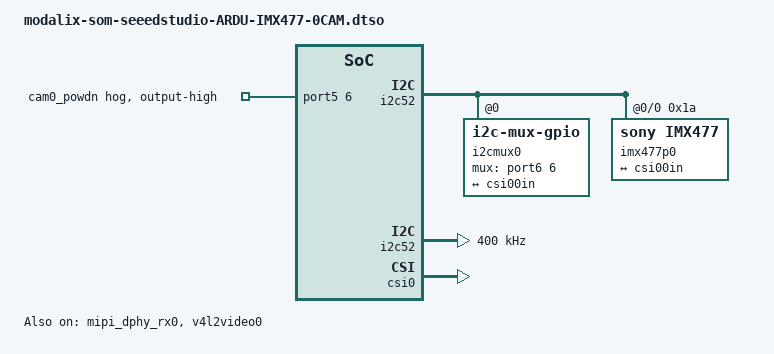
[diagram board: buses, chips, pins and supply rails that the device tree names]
// SPDX-License-Identifier: (GPL-2.0+ OR MIT)
/*
 * Copyright (c) 2026 SiMa ai
 */

/dts-v1/;
/plugin/;

&{/} {
        xclk_0: xclk_0 {
                status = "okay";
                compatible = "fixed-clock";
                #clock-cells = <0>;
                clock-frequency = <24000000>;
        };

        i2cmux0: i2cmux@0 {
                compatible = "i2c-mux-gpio";
                i2c-parent = <&i2c52>;
                #address-cells = <1>;
                #size-cells = <0>;
                /* Set port6 gpio6 to GPIO_ACTIVE_LOW mode */
                mux-gpios = <&port6 6 0>;

                i2cmux0p0: i2c@0 {
                    reg = <0>;
                    #address-cells = <1>;
                    #size-cells = <0>;
                };
        };
};

&port5 {
        cam-hog0 {
                gpio-hog;
                /* Set port5 gpio6 to GPIO_ACTIVE_HIGH mode */
                gpios = <6 0>;
                output-high;
                line-name = "cam0_powdn";
        };
};

&i2c52 {
    status = "okay";
    clock-frequency = <400000>;
    #address-cells = <1>;
    #size-cells = <0>;
};

&csi0 {
    status = "okay";
};

&axi_vdma0 {
    status = "okay";
};

&mipi_dphy_rx0 {
    status = "okay";
};

&v4l2video0 {
    status = "okay";
};

&v4l2vdma0 {
    status = "okay";
};

&csi00in {
    clock-lanes = <0>;
    data-lanes = <1 2>;
    link-frequencies = /bits/ 64 <450000000>;
    remote-endpoint = <&cam00out>;
    clock-continuous;
};

&i2cmux0p0 {
        imx477p0: imx477@1a {
                compatible = "sony,imx477";
                reg = <0x1a>;

                clocks = <&xclk_0>;
                clock-names = "xclk";

                port@1 {
                        cam00out: endpoint@0 {
                                clock-lanes = <0>;
                                data-lanes = <1 2>;
                                link-frequencies = /bits/ 64 <450000000>;
                                remote-endpoint = <&csi00in>;
                                clock-continuous;
                        };
                };
        };
};
